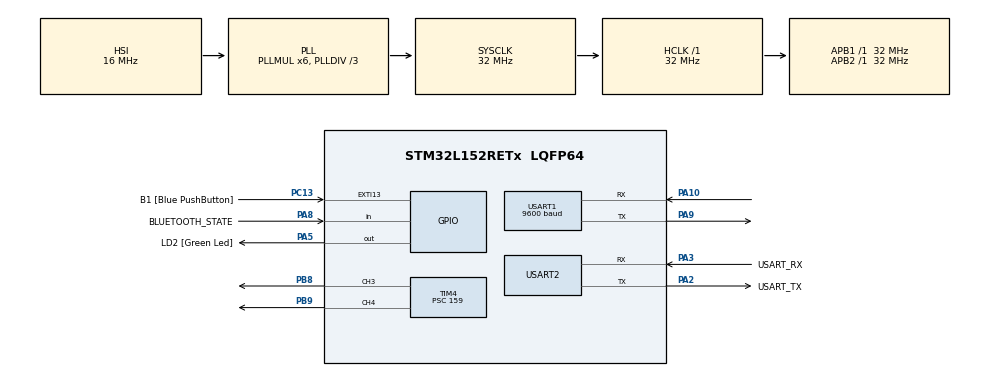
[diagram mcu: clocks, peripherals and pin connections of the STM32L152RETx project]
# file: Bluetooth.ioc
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Mcu.Family=STM32L1
Mcu.Name=STM32L152RETx
Mcu.Package=LQFP64
NVIC.PriorityGroup=NVIC_PRIORITYGROUP_0
NVIC.TIM2_IRQn=true\:0\:2\:false\:false\:true\:true\:true
NVIC.USART1_IRQn=true\:0\:1\:false\:false\:true\:true\:true
PA10.Mode=Asynchronous
PA10.Signal=USART1_RX
PA13.GPIO_Label=TMS
PA13.Mode=Serial_Wire
PA13.Signal=SYS_JTMS-SWDIO
PA14.GPIO_Label=TCK
PA14.Mode=Serial_Wire
PA14.Signal=SYS_JTCK-SWCLK
PA2.GPIO_Label=USART_TX
PA2.Mode=Asynchronous
PA2.Signal=USART2_TX
PA3.GPIO_Label=USART_RX
PA3.Mode=Asynchronous
PA3.Signal=USART2_RX
PA5.GPIO_Label=LD2 [Green Led]
PA5.Signal=GPIO_Output
PA8.GPIO_Label=BLUETOOTH_STATE
PA8.Signal=GPIO_Input
PA9.Mode=Asynchronous
PA9.Signal=USART1_TX
PB3.GPIO_Label=SWO
PB3.Signal=SYS_JTDO-TRACESWO
PB8.Signal=S_TIM4_CH3
PB9.Signal=S_TIM4_CH4
PC13-WKUP2.GPIO_Label=B1 [Blue PushButton]
PC13-WKUP2.Signal=GPXTI13
PC14-OSC32_IN.Mode=LSE-External-Oscillator
PC14-OSC32_IN.Signal=RCC_OSC32_IN
PC15-OSC32_OUT.Mode=LSE-External-Oscillator
PC15-OSC32_OUT.Signal=RCC_OSC32_OUT
PH0-OSC_IN.Mode=HSE-External-Clock-Source
PH0-OSC_IN.Signal=RCC_OSC_IN
PH1-OSC_OUT.Signal=RCC_OSC_OUT
ProjectManager.HeapSize=0x200
ProjectManager.StackSize=0x400
ProjectManager.TargetToolchain=STM32CubeIDE
RCC.48MHZClocksFreq_Value=48000000
RCC.AHBFreq_Value=32000000
RCC.APB1Freq_Value=32000000
RCC.APB1TimFreq_Value=32000000
RCC.APB2Freq_Value=32000000
RCC.APB2TimFreq_Value=32000000
RCC.HCLKFreq_Value=32000000
RCC.HSE_VALUE=8000000
RCC.HSI_VALUE=16000000
RCC.MSI_VALUE=2097000
RCC.PLLDIV=RCC_PLL_DIV3
RCC.PLLMUL=RCC_PLL_MUL6
RCC.RTCClockSelectionVirtual=RCC_RTCCLKSOURCE_LSE
RCC.SYSCLKFreq_VALUE=32000000
RCC.SYSCLKSource=RCC_SYSCLKSOURCE_PLLCLK
RCC.USBOutput=48000000
RCC.VCOOutputFreq_Value=96000000
SH.S_TIM4_CH3.0=TIM4_CH3,PWM Generation3 CH3
SH.S_TIM4_CH4.0=TIM4_CH4,PWM Generation4 CH4
TIM2.Period=31999
TIM2.Prescaler=500
TIM4.Channel-PWM\ Generation3\ CH3=TIM_CHANNEL_3
TIM4.Channel-PWM\ Generation4\ CH4=TIM_CHANNEL_4
TIM4.Period=3600
TIM4.Prescaler=159
TIM4.Pulse-PWM\ Generation3\ CH3=320
TIM4.Pulse-PWM\ Generation4\ CH4=300
USART1.BaudRate=9600
USART1.Mode=MODE_TX_RX
USART1.VirtualMode=VM_ASYNC
USART2.VirtualMode=VM_ASYNC
VP_TIM2_VS_ClockSourceINT.Mode=Internal
VP_TIM4_VS_ClockSourceINT.Mode=Internal
board=NUCLEO-L152RE

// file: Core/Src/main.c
/* USER CODE BEGIN Header */
/**
 ******************************************************************************
 * @file           : main.c
 * @brief          : Main program body
 ******************************************************************************
 * @attention
 *
 * Copyright (c) 2022 STMicroelectronics.
 * All rights reserved.
 *
 * This software is licensed under terms that can be found in the LICENSE file
 * in the root directory of this software component.
 * If no LICENSE file comes with this software, it is provided AS-IS.
 *
 ******************************************************************************
 */
/* USER CODE END Header */
#include "main.h"

/* USER CODE BEGIN Includes */
#include <stdio.h>
#include <stdlib.h>
#include <math.h>
#include <string.h>
/* USER CODE END Includes */

TIM_HandleTypeDef htim2;
TIM_HandleTypeDef htim4;

UART_HandleTypeDef huart1;
UART_HandleTypeDef huart2;

/* USER CODE BEGIN PV */
uint8_t state = 1; // Etat de la connexion UART
uint8_t RX_BUFFER[1] = {0}; // Mémoire tampon pour la réception des données UART
char* print_now; // Sert pour le débug du port série
char* print_old; //
char command_sent[99];
char number_convertion[10];
int buff;
int born1= 0;
int born2= 0;
int acceleration_turn_command;
int pulse = 0;

//test variable
int compteur = 0;
char compteur_car[10];

/* USER CODE END PV */

void SystemClock_Config(void);
static void MX_GPIO_Init(void);
static void MX_USART2_UART_Init(void);
static void MX_USART1_UART_Init(void);
static void MX_TIM2_Init(void);
static void MX_TIM4_Init(void);
/* USER CODE BEGIN PFP */
int map(int x, int in_min, int in_max, int out_min, int out_max)
{
  return (x - in_min) * (out_max - out_min) / (in_max - in_min) + out_min;
}

void Test_connection(void){
	state = HAL_GPIO_ReadPin(BLUETOOTH_STATE_GPIO_Port, BLUETOOTH_STATE_Pin);
	if(state == 0){
		print_now = "NO CONNECTION";
		TIM4->CCR4 = 300;
	}
	else if(state == 1){
		print_now = "CONNECTED";

	}
	if (print_now != print_old){
		printf("%s\r\n\n", print_now);
		print_old = print_now;
	}
}
void conversion_char_int()
{
	for(buff = 0; buff<strlen(command_sent);++buff){
				if(command_sent[buff]=='|' && born1 != 0){
					born2 = buff;
				}
				if(command_sent[buff]=='|' && born1 == 0){
					born1 = buff;
				}
			}
			for(born1=born1+1;born1<born2;++born1){
				strncat(number_convertion,&command_sent[born1],1);
			}
			acceleration_turn_command = atoi(number_convertion);
			born1=0;
			born2=0;
			number_convertion[0] = 0;
			pulse = map(acceleration_turn_command,0,100,200,400); //servo 240-400, moteur 200-400
			if(command_sent[0]=='a'){
						TIM4->CCR4 = pulse;
						printf("acceleration: %d  %d\r\n",acceleration_turn_command,pulse);
					}
			else if(command_sent[0]=='t'){
						TIM4->CCR3 = pulse;
						printf("direction: %d  %d\r\n",acceleration_turn_command,pulse);
					}
			command_sent[0] = 0;
}

/* USER CODE END PFP */

int main(void)
{

  /* MCU Configuration--------------------------------------------------------*/

  /* Reset of all peripherals, Initializes the Flash interface and the Systick. */
  HAL_Init();

  /* Configure the system clock */
  SystemClock_Config();

  /* Initialize all configured peripherals */
  MX_GPIO_Init();
  MX_USART2_UART_Init();
  MX_USART1_UART_Init();
  MX_TIM2_Init();
  MX_TIM4_Init();
  /* USER CODE BEGIN 2 */
	printf("Start Program\r\n\n");
	HAL_UART_Receive_IT(&huart1, RX_BUFFER, 1);
	HAL_TIM_Base_Start_IT(&htim2);
	HAL_TIM_PWM_Start(&htim4, TIM_CHANNEL_4);
	HAL_TIM_PWM_Start(&htim4, TIM_CHANNEL_3);
  /* USER CODE END 2 */

  /* Infinite loop */
  /* USER CODE BEGIN WHILE */
	while (1)
	{
		Test_connection(); // On vérifie la connexion

    /* USER CODE END WHILE */

	}
}

void SystemClock_Config(void)
{
  RCC_OscInitTypeDef RCC_OscInitStruct = {0};
  RCC_ClkInitTypeDef RCC_ClkInitStruct = {0};

  /** Configure the main internal regulator output voltage
  */
  __HAL_PWR_VOLTAGESCALING_CONFIG(PWR_REGULATOR_VOLTAGE_SCALE1);
  /** Initializes the RCC Oscillators according to the specified parameters
  * in the RCC_OscInitTypeDef structure.
  */
  RCC_OscInitStruct.OscillatorType = RCC_OSCILLATORTYPE_HSI;
  RCC_OscInitStruct.HSIState = RCC_HSI_ON;
  RCC_OscInitStruct.HSICalibrationValue = RCC_HSICALIBRATION_DEFAULT;
  RCC_OscInitStruct.PLL.PLLState = RCC_PLL_ON;
  RCC_OscInitStruct.PLL.PLLSource = RCC_PLLSOURCE_HSI;
  RCC_OscInitStruct.PLL.PLLMUL = RCC_PLL_MUL6;
  RCC_OscInitStruct.PLL.PLLDIV = RCC_PLL_DIV3;
  if (HAL_RCC_OscConfig(&RCC_OscInitStruct) != HAL_OK)
  {
    Error_Handler();
  }
  /** Initializes the CPU, AHB and APB buses clocks
  */
  RCC_ClkInitStruct.ClockType = RCC_CLOCKTYPE_HCLK|RCC_CLOCKTYPE_SYSCLK
                              |RCC_CLOCKTYPE_PCLK1|RCC_CLOCKTYPE_PCLK2;
  RCC_ClkInitStruct.SYSCLKSource = RCC_SYSCLKSOURCE_PLLCLK;
  RCC_ClkInitStruct.AHBCLKDivider = RCC_SYSCLK_DIV1;
  RCC_ClkInitStruct.APB1CLKDivider = RCC_HCLK_DIV1;
  RCC_ClkInitStruct.APB2CLKDivider = RCC_HCLK_DIV1;

  if (HAL_RCC_ClockConfig(&RCC_ClkInitStruct, FLASH_LATENCY_1) != HAL_OK)
  {
    Error_Handler();
  }
}

static void MX_TIM2_Init(void)
{

  TIM_ClockConfigTypeDef sClockSourceConfig = {0};
  TIM_MasterConfigTypeDef sMasterConfig = {0};

  htim2.Instance = TIM2;
  htim2.Init.Prescaler = 500;
  htim2.Init.CounterMode = TIM_COUNTERMODE_UP;
  htim2.Init.Period = 31999;
  htim2.Init.ClockDivision = TIM_CLOCKDIVISION_DIV1;
  htim2.Init.AutoReloadPreload = TIM_AUTORELOAD_PRELOAD_DISABLE;
  if (HAL_TIM_Base_Init(&htim2) != HAL_OK)
  {
    Error_Handler();
  }
  sClockSourceConfig.ClockSource = TIM_CLOCKSOURCE_INTERNAL;
  if (HAL_TIM_ConfigClockSource(&htim2, &sClockSourceConfig) != HAL_OK)
  {
    Error_Handler();
  }
  sMasterConfig.MasterOutputTrigger = TIM_TRGO_RESET;
  sMasterConfig.MasterSlaveMode = TIM_MASTERSLAVEMODE_DISABLE;
  if (HAL_TIMEx_MasterConfigSynchronization(&htim2, &sMasterConfig) != HAL_OK)
  {
    Error_Handler();
  }

}

static void MX_TIM4_Init(void)
{

  TIM_ClockConfigTypeDef sClockSourceConfig = {0};
  TIM_MasterConfigTypeDef sMasterConfig = {0};
  TIM_OC_InitTypeDef sConfigOC = {0};

  htim4.Instance = TIM4;
  htim4.Init.Prescaler = 159;
  htim4.Init.CounterMode = TIM_COUNTERMODE_UP;
  htim4.Init.Period = 3600;
  htim4.Init.ClockDivision = TIM_CLOCKDIVISION_DIV1;
  htim4.Init.AutoReloadPreload = TIM_AUTORELOAD_PRELOAD_DISABLE;
  if (HAL_TIM_Base_Init(&htim4) != HAL_OK)
  {
    Error_Handler();
  }
  sClockSourceConfig.ClockSource = TIM_CLOCKSOURCE_INTERNAL;
  if (HAL_TIM_ConfigClockSource(&htim4, &sClockSourceConfig) != HAL_OK)
  {
    Error_Handler();
  }
  if (HAL_TIM_PWM_Init(&htim4) != HAL_OK)
  {
    Error_Handler();
  }
  sMasterConfig.MasterOutputTrigger = TIM_TRGO_RESET;
  sMasterConfig.MasterSlaveMode = TIM_MASTERSLAVEMODE_DISABLE;
  if (HAL_TIMEx_MasterConfigSynchronization(&htim4, &sMasterConfig) != HAL_OK)
  {
    Error_Handler();
  }
  sConfigOC.OCMode = TIM_OCMODE_PWM1;
  sConfigOC.Pulse = 320;
  sConfigOC.OCPolarity = TIM_OCPOLARITY_HIGH;
  sConfigOC.OCFastMode = TIM_OCFAST_DISABLE;
  if (HAL_TIM_PWM_ConfigChannel(&htim4, &sConfigOC, TIM_CHANNEL_3) != HAL_OK)
  {
    Error_Handler();
  }
  sConfigOC.Pulse = 300;
  if (HAL_TIM_PWM_ConfigChannel(&htim4, &sConfigOC, TIM_CHANNEL_4) != HAL_OK)
  {
    Error_Handler();
  }
  HAL_TIM_MspPostInit(&htim4);

}

static void MX_USART1_UART_Init(void)
{

  huart1.Instance = USART1;
  huart1.Init.BaudRate = 9600;
  huart1.Init.WordLength = UART_WORDLENGTH_8B;
  huart1.Init.StopBits = UART_STOPBITS_1;
  huart1.Init.Parity = UART_PARITY_NONE;
  huart1.Init.Mode = UART_MODE_TX_RX;
  huart1.Init.HwFlowCtl = UART_HWCONTROL_NONE;
  huart1.Init.OverSampling = UART_OVERSAMPLING_16;
  if (HAL_UART_Init(&huart1) != HAL_OK)
  {
    Error_Handler();
  }

}

static void MX_USART2_UART_Init(void)
{

  huart2.Instance = USART2;
  huart2.Init.BaudRate = 115200;
  huart2.Init.WordLength = UART_WORDLENGTH_8B;
  huart2.Init.StopBits = UART_STOPBITS_1;
  huart2.Init.Parity = UART_PARITY_NONE;
  huart2.Init.Mode = UART_MODE_TX_RX;
  huart2.Init.HwFlowCtl = UART_HWCONTROL_NONE;
  huart2.Init.OverSampling = UART_OVERSAMPLING_16;
  if (HAL_UART_Init(&huart2) != HAL_OK)
  {
    Error_Handler();
  }

}

static void MX_GPIO_Init(void)
{
  GPIO_InitTypeDef GPIO_InitStruct = {0};

  /* GPIO Ports Clock Enable */
  __HAL_RCC_GPIOC_CLK_ENABLE();
  __HAL_RCC_GPIOH_CLK_ENABLE();
  __HAL_RCC_GPIOA_CLK_ENABLE();
  __HAL_RCC_GPIOB_CLK_ENABLE();

  /*Configure GPIO pin Output Level */
  HAL_GPIO_WritePin(LD2_GPIO_Port, LD2_Pin, GPIO_PIN_RESET);

  /*Configure GPIO pin : B1_Pin */
  GPIO_InitStruct.Pin = B1_Pin;
  GPIO_InitStruct.Mode = GPIO_MODE_IT_RISING;
  GPIO_InitStruct.Pull = GPIO_NOPULL;
  HAL_GPIO_Init(B1_GPIO_Port, &GPIO_InitStruct);

  /*Configure GPIO pin : LD2_Pin */
  GPIO_InitStruct.Pin = LD2_Pin;
  GPIO_InitStruct.Mode = GPIO_MODE_OUTPUT_PP;
  GPIO_InitStruct.Pull = GPIO_NOPULL;
  GPIO_InitStruct.Speed = GPIO_SPEED_FREQ_LOW;
  HAL_GPIO_Init(LD2_GPIO_Port, &GPIO_InitStruct);

  /*Configure GPIO pin : BLUETOOTH_STATE_Pin */
  GPIO_InitStruct.Pin = BLUETOOTH_STATE_Pin;
  GPIO_InitStruct.Mode = GPIO_MODE_INPUT;
  GPIO_InitStruct.Pull = GPIO_NOPULL;
  HAL_GPIO_Init(BLUETOOTH_STATE_GPIO_Port, &GPIO_InitStruct);

}

/* USER CODE BEGIN 4 */
void HAL_TIM_PeriodElapsedCallback(TIM_HandleTypeDef *htim)
{
  if (htim == &htim2 ) // si on est dans le timer 2
  {
	if (state == 1){ // si la connexion est vérifiée
		//compteur++;
		//sprintf(compteur_car, "%d", compteur);
		//strcat(compteur_car,)
		//printf("%s\r\n", compteur_car);
		uint8_t data[] = "test_envoi\r\n"; // Indication pour dire que la stm est connectée
		//uint8_t end[] = ""; // Format pour le port série
		HAL_UART_Transmit (&huart1, data, sizeof(data), 1); // Transmission UART
		//HAL_UART_Transmit (&huart1, end, sizeof(end), 1); // transmission du retour chariot et à la ligne
		HAL_GPIO_TogglePin(LD2_GPIO_Port, LD2_Pin); // on allume la led pour voir visuellement la transmission en direct sur le système

	}
  }
  else if (htim == &htim4 ){

  }
}

int __io_putchar(int ch) {
	HAL_UART_Transmit(&huart2, (uint8_t *)&ch, 1, 0xFFFF);
	return ch;
}

// Reception bluetooth et mise en buffer
void HAL_UART_RxCpltCallback(UART_HandleTypeDef *huart)
{
	if(huart->Instance == huart1.Instance)
	{
		HAL_UART_Receive_IT(&huart1, RX_BUFFER, 1);

	}
	char* test = (char*) RX_BUFFER;

	if (test[0] == '#'){

		conversion_char_int();
	}
	else{
		strncat(command_sent,&test[0],1);
	}

	//RX_BUFFER[0] = 'X';
}

/* USER CODE END 4 */

void Error_Handler(void)
{
	__disable_irq();
	while (1)
	{
	}
}
